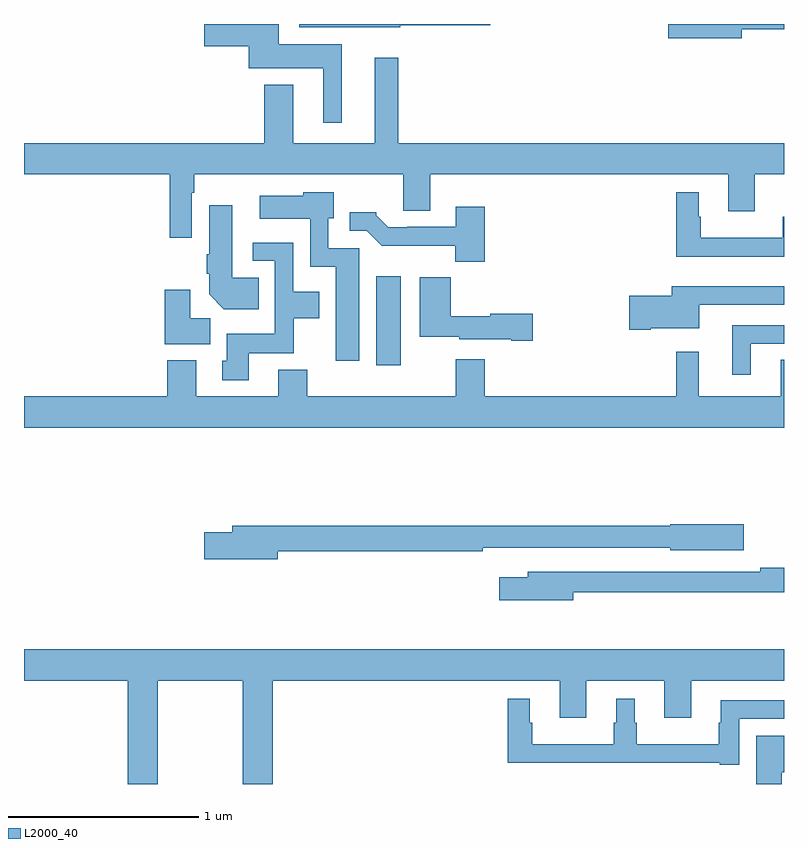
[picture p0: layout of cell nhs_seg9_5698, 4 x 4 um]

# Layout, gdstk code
import gdstk
lib = gdstk.Library(unit=1e-6, precision=1e-09)
def R(c, l, rs):  # rectangles x0, y0, x1, y1
    for r in rs: c.add(gdstk.rectangle(r[:2], r[2:], *l))
def P(c, l, *ps):  # polygons
    for p in ps: c.add(gdstk.Polygon(p, *l))
L2000_40 = (2000, 40)

nhs_seg9_5698 = lib.new_cell('nhs_seg9_5698')
R(nhs_seg9_5698, L2000_40, [(442.853,1240.704,442.984,1241.173)])
P(nhs_seg9_5698, L2000_40, [(442.672,1242.394),(442.342,1242.394),(442.342,1242.5),(441.948,1242.5),(441.948,1242.383),(442.184,1242.383),(442.184,1242.266),(442.574,1242.266),(442.574,1241.979),(442.672,1241.979)],
  [(442.98,1242.494),(443.455,1242.494),(443.455,1242.5),(442.449,1242.5),(442.449,1242.483),(442.761,1242.483),(442.761,1242.482),(442.98,1242.482)],
  [(444.778,1242.472),(445,1242.472),(445,1242.5),(444.39,1242.5),(444.39,1242.425),(444.778,1242.425)],
  [(441.882,1241.612),(441.895,1241.612),(441.895,1241.708),(442.997,1241.708),(442.997,1241.518),(443.137,1241.518),(443.137,1241.708),(444.707,1241.708),(444.707,1241.514),(444.847,1241.514),(444.847,1241.708),(445,1241.708),(445,1241.872),(442.969,1241.872),(442.969,1242.322),(442.847,1242.322),(442.847,1241.872),(442.417,1241.872),(442.417,1242.181),(442.265,1242.181),(442.265,1241.872),(441,1241.872),(441,1241.708),(441.766,1241.708),(441.766,1241.376),(441.882,1241.376)],
  [(445,1241.486),(444.993,1241.486),(444.993,1241.374),(444.562,1241.374),(444.562,1241.486),(444.55,1241.486),(444.55,1241.614),(444.433,1241.614),(444.433,1241.276),(445,1241.276)],
  [(442.765,1241.319),(442.602,1241.319),(442.602,1241.478),(442.63,1241.478),(442.63,1241.614),(442.47,1241.614),(442.47,1241.596),(442.242,1241.596),(442.242,1241.474),(442.506,1241.474),(442.506,1241.222),(442.64,1241.222),(442.64,1240.728),(442.765,1240.728)],
  [(442.235,1241.164),(442.096,1241.164),(442.096,1241.545),(441.974,1241.545),(441.974,1241.288),(441.962,1241.288),(441.962,1241.185),(441.974,1241.185),(441.974,1241.078),(442.052,1241),(442.235,1241)],
  [(443.426,1241.539),(443.273,1241.539),(443.273,1241.433),(443.017,1241.433),(443.017,1241.43),(442.918,1241.43),(442.854,1241.494),(442.854,1241.509),(442.715,1241.509),(442.715,1241.412),(442.803,1241.412),(442.882,1241.334),(443.271,1241.334),(443.271,1241.249),(443.426,1241.249)],
  [(442.183,1240.766),(442.419,1240.766),(442.419,1240.952),(442.555,1240.952),(442.555,1241.092),(442.416,1241.092),(442.416,1241.349),(442.203,1241.349),(442.203,1241.253),(442.32,1241.253),(442.32,1240.87),(442.067,1240.87),(442.067,1240.728),(442.043,1240.728),(442.043,1240.626),(442.183,1240.626)],
  [(443.677,1240.976),(443.454,1240.976),(443.454,1240.963),(443.246,1240.963),(443.246,1241.167),(443.084,1241.167),(443.084,1240.853),(443.292,1240.853),(443.292,1240.841),(443.564,1240.841),(443.564,1240.834),(443.677,1240.834)],
  [(444.298,1240.898),(444.553,1240.898),(444.553,1241.022),(445,1241.022),(445,1241.119),(444.41,1241.119),(444.41,1241.069),(444.186,1241.069),(444.186,1240.891),(444.298,1240.891)],
  [(441.979,1240.952),(441.874,1240.952),(441.874,1241.101),(441.74,1241.101),(441.74,1240.814),(441.979,1240.814)],
  [(444.826,1240.818),(445,1240.818),(445,1240.914),(444.728,1240.914),(444.728,1240.653),(444.826,1240.653)],
  [(445,1240.733),(444.983,1240.733),(444.983,1240.54),(444.551,1240.54),(444.551,1240.774),(444.433,1240.774),(444.433,1240.54),(443.426,1240.54),(443.426,1240.735),(443.273,1240.735),(443.273,1240.54),(442.49,1240.54),(442.49,1240.681),(442.337,1240.681),(442.337,1240.54),(441.907,1240.54),(441.907,1240.729),(441.755,1240.729),(441.755,1240.54),(441,1240.54),(441,1240.376),(445,1240.376)],
  [(442.336,1239.724),(443.414,1239.724),(443.414,1239.744),(444.402,1239.744),(444.402,1239.731),(444.787,1239.731),(444.787,1239.866),(444.402,1239.866),(444.402,1239.86),(442.097,1239.86),(442.097,1239.824),(441.948,1239.824),(441.948,1239.682),(442.336,1239.682)],
  [(443.89,1239.51),(445,1239.51),(445,1239.638),(444.874,1239.638),(444.874,1239.618),(443.651,1239.618),(443.651,1239.589),(443.502,1239.589),(443.502,1239.467),(443.89,1239.467)],
  [(441.705,1239.044),(442.15,1239.044),(442.15,1238.5),(442.31,1238.5),(442.31,1239.044),(443.819,1239.044),(443.819,1238.85),(443.959,1238.85),(443.959,1239.044),(444.371,1239.044),(444.371,1238.85),(444.511,1238.85),(444.511,1239.044),(445,1239.044),(445,1239.208),(441,1239.208),(441,1239.044),(441.545,1239.044),(441.545,1238.5),(441.705,1238.5)],
  [(444.765,1238.844),(445,1238.844),(445,1238.94),(444.668,1238.94),(444.668,1238.822),(444.657,1238.822),(444.657,1238.71),(444.226,1238.71),(444.226,1238.822),(444.214,1238.822),(444.214,1238.95),(444.116,1238.95),(444.116,1238.822),(444.105,1238.822),(444.105,1238.71),(443.674,1238.71),(443.674,1238.822),(443.662,1238.822),(443.662,1238.95),(443.545,1238.95),(443.545,1238.612),(444.662,1238.612),(444.662,1238.601),(444.765,1238.601)],
  [(444.988,1238.561),(445,1238.561),(445,1238.754),(444.854,1238.754),(444.854,1238.5),(444.988,1238.5)])

lib.write_gds('nhs_seg9_5698.gds')
